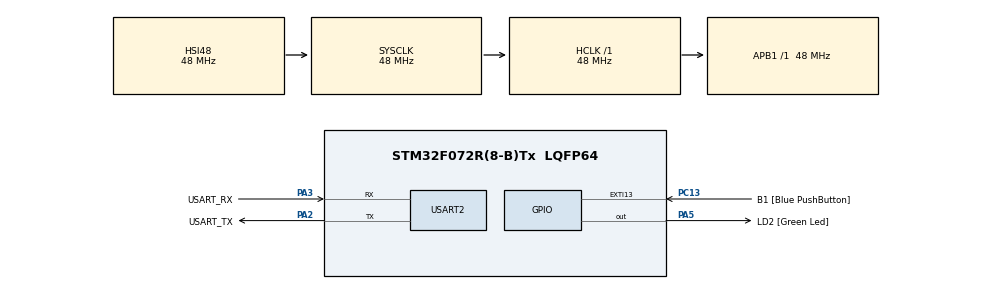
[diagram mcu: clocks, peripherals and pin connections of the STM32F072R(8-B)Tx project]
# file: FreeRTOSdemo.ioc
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Mcu.Family=STM32F0
Mcu.Name=STM32F072R(8-B)Tx
Mcu.Package=LQFP64
PA13.GPIO_Label=TMS
PA13.Mode=Serial_Wire
PA13.Signal=SYS_SWDIO
PA14.GPIO_Label=TCK
PA14.Mode=Serial_Wire
PA14.Signal=SYS_SWCLK
PA2.GPIO_Label=USART_TX
PA2.GPIO_Mode=GPIO_MODE_AF_PP
PA2.GPIO_PuPd=GPIO_NOPULL
PA2.GPIO_Speed=GPIO_SPEED_FREQ_LOW
PA2.Mode=Asynchronous
PA2.Signal=USART2_TX
PA3.GPIO_Label=USART_RX
PA3.GPIO_Mode=GPIO_MODE_AF_PP
PA3.GPIO_PuPd=GPIO_NOPULL
PA3.GPIO_Speed=GPIO_SPEED_FREQ_LOW
PA3.Mode=Asynchronous
PA3.Signal=USART2_RX
PA5.GPIO_Label=LD2 [Green Led]
PA5.GPIO_Mode=GPIO_MODE_OUTPUT_PP
PA5.GPIO_PuPd=GPIO_NOPULL
PA5.GPIO_Speed=GPIO_SPEED_FREQ_LOW
PA5.Signal=GPIO_Output
PC13.GPIO_Label=B1 [Blue PushButton]
PC13.GPIO_ModeDefaultEXTI=GPIO_MODE_IT_FALLING
PC13.Signal=GPXTI13
PC14-OSC32_IN.Mode=LSE-External-Oscillator
PC14-OSC32_IN.Signal=RCC_OSC32_IN
PC15-OSC32_OUT.Mode=LSE-External-Oscillator
PC15-OSC32_OUT.Signal=RCC_OSC32_OUT
PF0-OSC_IN.Mode=HSE-External-Clock-Source
PF0-OSC_IN.Signal=RCC_OSC_IN
PF1-OSC_OUT.Signal=RCC_OSC_OUT
ProjectManager.HeapSize=0x200
ProjectManager.StackSize=0x400
ProjectManager.TargetToolchain=STM32CubeIDE
RCC.AHBFreq_Value=48000000
RCC.APB1Freq_Value=48000000
RCC.APB1TimFreq_Value=48000000
RCC.FLatency-AdvancedSettings=FLASH_LATENCY_1
RCC.HCLKFreq_Value=48000000
RCC.PLLDivider=RCC_PREDIV_DIV2
RCC.PLLMUL=RCC_PLL_MUL12
RCC.PREFETCH_ENABLE-AdvancedSettings=1
RCC.SYSCLKFreq_VALUE=48000000
RCC.SYSCLKSource=RCC_SYSCLKSOURCE_HSI48
USART2.VirtualMode=VM_ASYNC
USART2.VirtualMode-Asynchronous=VM_ASYNC
VP_TIM3_VS_ClockSourceINT.Mode=Internal
board=NUCLEO-F072RB

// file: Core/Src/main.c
/* USER CODE BEGIN Header */
/**
  ******************************************************************************
  * @file           : main.c
  * @brief          : Main program body
  ******************************************************************************
  * @attention
  *
  * Copyright (c) 2024 STMicroelectronics.
  * All rights reserved.
  *
  * This software is licensed under terms that can be found in the LICENSE file
  * in the root directory of this software component.
  * If no LICENSE file comes with this software, it is provided AS-IS.
  *
  ******************************************************************************
  */
/* USER CODE END Header */
#include "main.h"

/* USER CODE BEGIN Includes */
/* Standard includes. */
#include "string.h"

/* FreeRTOS includes. */
#include "FreeRTOS.h"
#include "task.h"

/* Demo application include. */
#include "ParTest.h"

/* Set mainCREATE_SIMPLE_BLINKY_DEMO_ONLY to one to run the simple blinky demo,
or 0 to run the more comprehensive test and demo application. */
#define mainCREATE_SIMPLE_BLINKY_DEMO_ONLY	1

/* USER CODE END Includes */

TIM_HandleTypeDef htim3;

UART_HandleTypeDef huart2;

void SystemClock_Config(void);
static void MX_GPIO_Init(void);
static void MX_USART2_UART_Init(void);
static void MX_TIM3_Init(void);
/* USER CODE BEGIN PFP */
/*
 * Perform any application specific hardware configuration.  The clocks,
 * memory, etc. are configured before main() is called.
 */

/* main_blinky() is used when mainCREATE_SIMPLE_BLINKY_DEMO_ONLY is set to 1.
main_full() is used when mainCREATE_SIMPLE_BLINKY_DEMO_ONLY is set to 0. */
extern void main_blinky( void );
extern void main_full( void );
/* USER CODE END PFP */

int main(void)
{

	HAL_Init();
	SystemClock_Config();
	  MX_GPIO_Init();
	  MX_USART2_UART_Init();
	  MX_TIM3_Init();
  /* USER CODE BEGIN 1 */
	/* Prepare the hardware to run this demo. */

		/* The mainCREATE_SIMPLE_BLINKY_DEMO_ONLY setting is described at the top
		of this file. */
		#if mainCREATE_SIMPLE_BLINKY_DEMO_ONLY == 1
		{
			main_blinky();
		}
		#else
		{
			main_full();
		}
		#endif

		return 0;
  /* USER CODE END 1 */

  /* MCU Configuration--------------------------------------------------------*/
		/* Reset of all peripherals, Initializes the Flash interface and the Systick. */

  /* Configure the system clock */

  /* Initialize all configured peripherals */

  /* Infinite loop */
  while (1)
  {

  }
}

void SystemClock_Config(void)
{
  RCC_OscInitTypeDef RCC_OscInitStruct = {0};
  RCC_ClkInitTypeDef RCC_ClkInitStruct = {0};
  RCC_PeriphCLKInitTypeDef PeriphClkInit = {0};

  /** Initializes the RCC Oscillators according to the specified parameters
  * in the RCC_OscInitTypeDef structure.
  */
  RCC_OscInitStruct.OscillatorType = RCC_OSCILLATORTYPE_HSI48;
  RCC_OscInitStruct.HSI48State = RCC_HSI48_ON;
  RCC_OscInitStruct.PLL.PLLState = RCC_PLL_NONE;
  if (HAL_RCC_OscConfig(&RCC_OscInitStruct) != HAL_OK)
  {
    Error_Handler();
  }

  /** Initializes the CPU, AHB and APB buses clocks
  */
  RCC_ClkInitStruct.ClockType = RCC_CLOCKTYPE_HCLK|RCC_CLOCKTYPE_SYSCLK
                              |RCC_CLOCKTYPE_PCLK1;
  RCC_ClkInitStruct.SYSCLKSource = RCC_SYSCLKSOURCE_HSI48;
  RCC_ClkInitStruct.AHBCLKDivider = RCC_SYSCLK_DIV1;
  RCC_ClkInitStruct.APB1CLKDivider = RCC_HCLK_DIV1;

  if (HAL_RCC_ClockConfig(&RCC_ClkInitStruct, FLASH_LATENCY_1) != HAL_OK)
  {
    Error_Handler();
  }
  PeriphClkInit.PeriphClockSelection = RCC_PERIPHCLK_USART2;
  PeriphClkInit.Usart2ClockSelection = RCC_USART2CLKSOURCE_PCLK1;
  if (HAL_RCCEx_PeriphCLKConfig(&PeriphClkInit) != HAL_OK)
  {
    Error_Handler();
  }
}

static void MX_TIM3_Init(void)
{

  TIM_ClockConfigTypeDef sClockSourceConfig = {0};
  TIM_MasterConfigTypeDef sMasterConfig = {0};

  htim3.Instance = TIM3;
  htim3.Init.Prescaler = 0;
  htim3.Init.CounterMode = TIM_COUNTERMODE_UP;
  htim3.Init.Period = 65535;
  htim3.Init.ClockDivision = TIM_CLOCKDIVISION_DIV1;
  htim3.Init.AutoReloadPreload = TIM_AUTORELOAD_PRELOAD_DISABLE;
  if (HAL_TIM_Base_Init(&htim3) != HAL_OK)
  {
    Error_Handler();
  }
  sClockSourceConfig.ClockSource = TIM_CLOCKSOURCE_INTERNAL;
  if (HAL_TIM_ConfigClockSource(&htim3, &sClockSourceConfig) != HAL_OK)
  {
    Error_Handler();
  }
  sMasterConfig.MasterOutputTrigger = TIM_TRGO_RESET;
  sMasterConfig.MasterSlaveMode = TIM_MASTERSLAVEMODE_DISABLE;
  if (HAL_TIMEx_MasterConfigSynchronization(&htim3, &sMasterConfig) != HAL_OK)
  {
    Error_Handler();
  }

}

static void MX_USART2_UART_Init(void)
{

  huart2.Instance = USART2;
  huart2.Init.BaudRate = 38400;
  huart2.Init.WordLength = UART_WORDLENGTH_8B;
  huart2.Init.StopBits = UART_STOPBITS_1;
  huart2.Init.Parity = UART_PARITY_NONE;
  huart2.Init.Mode = UART_MODE_TX_RX;
  huart2.Init.HwFlowCtl = UART_HWCONTROL_NONE;
  huart2.Init.OverSampling = UART_OVERSAMPLING_16;
  huart2.Init.OneBitSampling = UART_ONE_BIT_SAMPLE_DISABLE;
  huart2.AdvancedInit.AdvFeatureInit = UART_ADVFEATURE_NO_INIT;
  if (HAL_UART_Init(&huart2) != HAL_OK)
  {
    Error_Handler();
  }

}

static void MX_GPIO_Init(void)
{
  GPIO_InitTypeDef GPIO_InitStruct = {0};

  /* GPIO Ports Clock Enable */
  __HAL_RCC_GPIOC_CLK_ENABLE();
  __HAL_RCC_GPIOF_CLK_ENABLE();
  __HAL_RCC_GPIOA_CLK_ENABLE();

  /*Configure GPIO pin Output Level */
  HAL_GPIO_WritePin(LD2_GPIO_Port, LD2_Pin, GPIO_PIN_RESET);

  /*Configure GPIO pin : B1_Pin */
  GPIO_InitStruct.Pin = B1_Pin;
  GPIO_InitStruct.Mode = GPIO_MODE_IT_FALLING;
  GPIO_InitStruct.Pull = GPIO_NOPULL;
  HAL_GPIO_Init(B1_GPIO_Port, &GPIO_InitStruct);

  /*Configure GPIO pin : LD2_Pin */
  GPIO_InitStruct.Pin = LD2_Pin;
  GPIO_InitStruct.Mode = GPIO_MODE_OUTPUT_PP;
  GPIO_InitStruct.Pull = GPIO_NOPULL;
  GPIO_InitStruct.Speed = GPIO_SPEED_FREQ_LOW;
  HAL_GPIO_Init(LD2_GPIO_Port, &GPIO_InitStruct);

}

/* USER CODE BEGIN 4 */

void vApplicationMallocFailedHook( void )
{
	/* vApplicationMallocFailedHook() will only be called if
	configUSE_MALLOC_FAILED_HOOK is set to 1 in FreeRTOSConfig.h.  It is a hook
	function that will get called if a call to pvPortMalloc() fails.
	pvPortMalloc() is called internally by the kernel whenever a task, queue,
	timer or semaphore is created.  It is also called by various parts of the
	demo application.  If heap_1.c or heap_2.c are used, then the size of the
	heap available to pvPortMalloc() is defined by configTOTAL_HEAP_SIZE in
	FreeRTOSConfig.h, and the xPortGetFreeHeapSize() API function can be used
	to query the size of free heap space that remains (although it does not
	provide information on how the remaining heap might be fragmented). */
	taskDISABLE_INTERRUPTS();
	for( ;; );
}
/*-----------------------------------------------------------*/

void vApplicationIdleHook( void )
{
	/* vApplicationIdleHook() will only be called if configUSE_IDLE_HOOK is set
	to 1 in FreeRTOSConfig.h.  It will be called on each iteration of the idle
	task.  It is essential that code added to this hook function never attempts
	to block in any way (for example, call xQueueReceive() with a block time
	specified, or call vTaskDelay()).  If the application makes use of the
	vTaskDelete() API function (as this demo application does) then it is also
	important that vApplicationIdleHook() is permitted to return to its calling
	function, because it is the responsibility of the idle task to clean up
	memory allocated by the kernel to any task that has since been deleted. */
}
/*-----------------------------------------------------------*/

void vApplicationStackOverflowHook( TaskHandle_t pxTask, char *pcTaskName )
{
	( void ) pcTaskName;
	( void ) pxTask;

	/* Run time stack overflow checking is performed if
	configCHECK_FOR_STACK_OVERFLOW is defined to 1 or 2.  This hook
	function is called if a stack overflow is detected. */
	taskDISABLE_INTERRUPTS();
	for( ;; );
}
/*-----------------------------------------------------------*/

void vApplicationTickHook( void )
{
	/* This function will be called by each tick interrupt if
	configUSE_TICK_HOOK is set to 1 in FreeRTOSConfig.h.  User code can be
	added here, but the tick hook is called from an interrupt context, so
	code must not attempt to block, and only the interrupt safe FreeRTOS API
	functions can be used (those that end in FromISR()). */
}
/*-----------------------------------------------------------*/

/* USER CODE END 4 */

void Error_Handler(void)
{
  __disable_irq();
  while (1)
  {
  }
}
